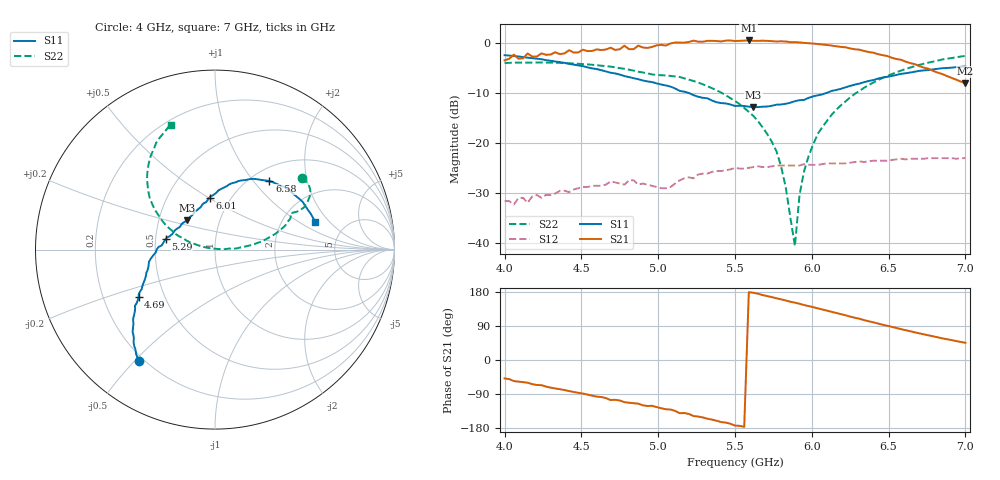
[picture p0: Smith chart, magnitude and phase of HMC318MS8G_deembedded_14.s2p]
!Hittite Microwave Corporation
!12 Elizabeth Drive
!Chelmsford, MA 01824
!Tel: 978-250-3343
!Fax: 978-250-3373
!Device: HMC318MS8G, 5-6 GHz LNA with AGC in 8-lead Grounded Base Surface Mount Plastic Package
!Misc: Room Temp Vdd = +3V Idd = 5.7 mA. Vctl =1.4 V	 , DEEMBEDDED TO THE PINS OF THE DEVICE
# MHZ S MA R 50
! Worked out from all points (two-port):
!   101 points, 4 GHz to 7 GHz, reference 50 ohm
!   highest |S21| = 0.46 dB at 5.59 GHz (marker M1); lowest = -8.2 dB at 7 GHz (marker M2)
!   |S21| within 3 dB of the highest: 4.054213 GHz to 4.065876 GHz (11.66 MHz wide, 0.287 % of centre); 4.221 GHz to 6.471 GHz (2.251 GHz wide, 42.1 % of centre) (the widest 2 of 3)
!   lowest |S11| = -12.9 dB at 5.62 GHz (marker M3), VSWR 1.59, Z = 34.7 + j12 ohm
!   |S11| at or under -10 dB: 5.193 GHz to 6.1 GHz (907.3 MHz wide, 16.1 % of centre)
!   |S22| runs from -40.7 to -2.6 dB; largest |S21 - S12| = 1.1
!   S11 on the Smith chart (normalised r, x): 4 GHz: 0.18, -0.51; 4.69 GHz: 0.36, -0.25; 5.29 GHz: 0.57, +0.07; 6.01 GHz: 0.80, +0.51; 6.58 GHz: 1.21, +1.21; 7 GHz: 3.04, +1.41
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4000  0.751 -124.5  0.667 -48.5  0.026 122.0  0.627 39.6
4060  0.736 -126.2  0.76 -55.7  0.024 123.5  0.632 38.3
4090  0.729 -127.0  0.692 -57.0  0.028 124.2  0.632 37.7
4150  0.709 -128.8  0.781 -59.9  0.025 116.4  0.633 36.3
4510  0.583 -140.8  0.852 -88.6  0.036 104.9  0.611 30.1
4690  0.501 -148.2  0.892 -105.7  0.041 98.4  0.577 27.0
5020  0.382 -165.9  0.952 -127.4  0.035 79.6  0.473 25.6
5230  0.299 175.7  1.05 -147.9  0.044 75.7  0.414 18.9
5290  0.281 168.2  1.023 -151.6  0.049 67.7  0.384 17.0
5500  0.233 147.2  1.04 -173.1  0.056 49.5  0.261 9.8
5590  0.229 137.9  1.054 179.0  0.056 38.9  0.203 7.1
5620  0.227 133.8  1.045 177.4  0.057 35.2  0.185 6.4
5770  0.24 117.4  1.029 162.8  0.059 17.3  0.082 4.2
5830  0.245 111.7  1.029 157.1  0.059 12.5  0.036 3.4
5890  0.26 106.0  1.013 151.3  0.059 4.3  0.009207 142.2
5920  0.266 103.7  1.007 148.3  0.059 0.9  0.03 163.9
5950  0.268 100.9  0.997 145.0  0.061 -1.8  0.052 166.9
6010  0.291 95.9  0.981 139.2  0.06 -9.8  0.097 165.6
6190  0.346 82.6  0.908 120.9  0.062 -32.1  0.237 158.3
6520  0.465 56.6  0.708 87.5  0.067 -75.9  0.485 139.6
6580  0.488 51.6  0.676 81.5  0.069 -84.2  0.526 135.7
7000  0.579 15.4  0.391 45.4  0.07 -133.6  0.738 109.5
